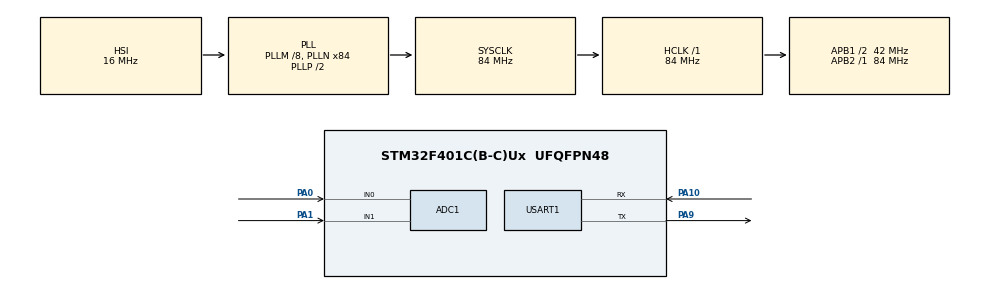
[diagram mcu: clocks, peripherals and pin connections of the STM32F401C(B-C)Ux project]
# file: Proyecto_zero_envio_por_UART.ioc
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ADC1.Channel-0\#ChannelRegularConversion=ADC_CHANNEL_1
ADC1.Channel-1\#ChannelRegularConversion=ADC_CHANNEL_0
ADC1.DMAContinuousRequests=ENABLE
ADC1.ExternalTrigConv=ADC_EXTERNALTRIGCONV_T3_TRGO
ADC1.NbrOfConversion=2
ADC1.NbrOfConversionFlag=1
ADC1.Rank-0\#ChannelRegularConversion=1
ADC1.Rank-1\#ChannelRegularConversion=2
ADC1.SamplingTime-0\#ChannelRegularConversion=ADC_SAMPLETIME_28CYCLES
ADC1.SamplingTime-1\#ChannelRegularConversion=ADC_SAMPLETIME_28CYCLES
ADC1.ScanConvMode=ENABLE
ADC1.master=1
Dma.ADC1.0.Direction=DMA_PERIPH_TO_MEMORY
Dma.ADC1.0.FIFOMode=DMA_FIFOMODE_DISABLE
Dma.ADC1.0.Instance=DMA2_Stream0
Dma.ADC1.0.MemDataAlignment=DMA_MDATAALIGN_HALFWORD
Dma.ADC1.0.MemInc=DMA_MINC_ENABLE
Dma.ADC1.0.Mode=DMA_CIRCULAR
Dma.ADC1.0.PeriphDataAlignment=DMA_PDATAALIGN_HALFWORD
Dma.ADC1.0.PeriphInc=DMA_PINC_DISABLE
Dma.ADC1.0.Priority=DMA_PRIORITY_LOW
Dma.Request0=ADC1
Mcu.Family=STM32F4
Mcu.Name=STM32F401C(B-C)Ux
Mcu.Package=UFQFPN48
NVIC.ADC_IRQn=true\:0\:0\:false\:false\:true\:true\:true\:true
NVIC.DMA2_Stream0_IRQn=true\:0\:0\:false\:false\:true\:false\:true\:true
NVIC.PriorityGroup=NVIC_PRIORITYGROUP_4
NVIC.USART1_IRQn=true\:0\:0\:false\:false\:true\:true\:true\:true
PA0-WKUP.Signal=ADCx_IN0
PA1.Signal=ADCx_IN1
PA10.Mode=Asynchronous
PA10.Signal=USART1_RX
PA13.Mode=Serial_Wire
PA13.Signal=SYS_JTMS-SWDIO
PA14.Mode=Serial_Wire
PA14.Signal=SYS_JTCK-SWCLK
PA9.Mode=Asynchronous
PA9.Signal=USART1_TX
ProjectManager.HeapSize=0x200
ProjectManager.StackSize=0x400
ProjectManager.TargetToolchain=STM32CubeIDE
RCC.48MHZClocksFreq_Value=42000000
RCC.AHBFreq_Value=84000000
RCC.APB1CLKDivider=RCC_HCLK_DIV2
RCC.APB1Freq_Value=42000000
RCC.APB1TimFreq_Value=84000000
RCC.APB2Freq_Value=84000000
RCC.APB2TimFreq_Value=84000000
RCC.CortexFreq_Value=84000000
RCC.HCLKFreq_Value=84000000
RCC.HSE_VALUE=25000000
RCC.HSI_VALUE=16000000
RCC.LSE_VALUE=32768
RCC.PLLM=8
RCC.PLLN=84
RCC.SYSCLKFreq_VALUE=84000000
RCC.SYSCLKSource=RCC_SYSCLKSOURCE_PLLCLK
RCC.VCOOutputFreq_Value=168000000
SH.ADCx_IN0.0=ADC1_IN0,IN0
SH.ADCx_IN1.0=ADC1_IN1,IN1
TIM3.Period=175-1
TIM3.Prescaler=5-1
TIM3.TIM_MasterOutputTrigger=TIM_TRGO_UPDATE
USART1.VirtualMode=VM_ASYNC
VP_TIM3_VS_ClockSourceINT.Mode=Internal
board=custom

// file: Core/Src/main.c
/* USER CODE BEGIN Header */
/**
  ******************************************************************************
  * @file           : main.c
  * @brief          : Main program body
  ******************************************************************************
  * @attention
  *
  * Copyright (c) 2026 STMicroelectronics.
  * All rights reserved.
  *
  * This software is licensed under terms that can be found in the LICENSE file
  * in the root directory of this software component.
  * If no LICENSE file comes with this software, it is provided AS-IS.
  *
  ******************************************************************************
  */
/* USER CODE END Header */
#include "main.h"

/* USER CODE BEGIN Includes */
#include "stdio.h"
#include "string.h"
/* USER CODE END Includes */

/* USER CODE BEGIN PD */
#define BUFF_SIZE 1024
#define HALF_BUFF_SIZE BUFF_SIZE/2

/* USER CODE END PD */

ADC_HandleTypeDef hadc1;
DMA_HandleTypeDef hdma_adc1;

TIM_HandleTypeDef htim3;

UART_HandleTypeDef huart1;

/* USER CODE BEGIN PV */
uint16_t buffer_adc[BUFF_SIZE];
volatile uint8_t flag_half_complete=0;

uint8_t caracter;
volatile uint8_t flag_recept=0;

/* USER CODE END PV */

void SystemClock_Config(void);
static void MX_GPIO_Init(void);
static void MX_DMA_Init(void);
static void MX_ADC1_Init(void);
static void MX_TIM3_Init(void);
static void MX_USART1_UART_Init(void);

int main(void)
{

  /* MCU Configuration--------------------------------------------------------*/

  /* Reset of all peripherals, Initializes the Flash interface and the Systick. */
  HAL_Init();

  /* Configure the system clock */
  SystemClock_Config();

  /* Initialize all configured peripherals */
  MX_GPIO_Init();
  MX_DMA_Init();
  MX_ADC1_Init();
  MX_TIM3_Init();
  MX_USART1_UART_Init();
  /* USER CODE BEGIN 2 */
  HAL_TIM_Base_Start(&htim3);
  HAL_ADC_Start_DMA(&hadc1, (uint32_t*)&buffer_adc, (uint32_t)BUFF_SIZE);
  HAL_UART_Receive_IT(&huart1, &caracter, 1);

  uint16_t buff_dma[HALF_BUFF_SIZE]={};
  char package[15]={};
  uint8_t flag_sending=0;
  uint8_t flag_local=0;
  /* USER CODE END 2 */

  /* Infinite loop */
  /* USER CODE BEGIN WHILE */
  while (1)
  {
	  flag_sending=flag_recept;
	  if(flag_sending==1){
		  flag_sending=0;
		  flag_recept=0;
		  flag_local=flag_half_complete;
		  flag_half_complete=0;
		  if(flag_local==1)
		  {
			  for(uint16_t j=0;j<HALF_BUFF_SIZE;j++)
			  {
				  buff_dma[j]=buffer_adc[j];
			  }
		  }else if(flag_local==2){
			  for(uint16_t j=HALF_BUFF_SIZE;j<BUFF_SIZE;j++)
			  {
				  buff_dma[j-HALF_BUFF_SIZE]=buffer_adc[j];
			  }
		  }
		  flag_local=0;
		  for(uint16_t j=0; j<HALF_BUFF_SIZE; j+=2){
			  snprintf(package, sizeof(package), "%u,%u\r\n",buff_dma[j],buff_dma[j+1]);
			  HAL_UART_Transmit(&huart1, (uint8_t*)package, strlen(package), 50);
		  }
	  }

    /* USER CODE END WHILE */

  }
}

void SystemClock_Config(void)
{
  RCC_OscInitTypeDef RCC_OscInitStruct = {0};
  RCC_ClkInitTypeDef RCC_ClkInitStruct = {0};

  /** Configure the main internal regulator output voltage
  */
  __HAL_RCC_PWR_CLK_ENABLE();
  __HAL_PWR_VOLTAGESCALING_CONFIG(PWR_REGULATOR_VOLTAGE_SCALE2);

  /** Initializes the RCC Oscillators according to the specified parameters
  * in the RCC_OscInitTypeDef structure.
  */
  RCC_OscInitStruct.OscillatorType = RCC_OSCILLATORTYPE_HSI;
  RCC_OscInitStruct.HSIState = RCC_HSI_ON;
  RCC_OscInitStruct.HSICalibrationValue = RCC_HSICALIBRATION_DEFAULT;
  RCC_OscInitStruct.PLL.PLLState = RCC_PLL_ON;
  RCC_OscInitStruct.PLL.PLLSource = RCC_PLLSOURCE_HSI;
  RCC_OscInitStruct.PLL.PLLM = 8;
  RCC_OscInitStruct.PLL.PLLN = 84;
  RCC_OscInitStruct.PLL.PLLP = RCC_PLLP_DIV2;
  RCC_OscInitStruct.PLL.PLLQ = 4;
  if (HAL_RCC_OscConfig(&RCC_OscInitStruct) != HAL_OK)
  {
    Error_Handler();
  }

  /** Initializes the CPU, AHB and APB buses clocks
  */
  RCC_ClkInitStruct.ClockType = RCC_CLOCKTYPE_HCLK|RCC_CLOCKTYPE_SYSCLK
                              |RCC_CLOCKTYPE_PCLK1|RCC_CLOCKTYPE_PCLK2;
  RCC_ClkInitStruct.SYSCLKSource = RCC_SYSCLKSOURCE_PLLCLK;
  RCC_ClkInitStruct.AHBCLKDivider = RCC_SYSCLK_DIV1;
  RCC_ClkInitStruct.APB1CLKDivider = RCC_HCLK_DIV2;
  RCC_ClkInitStruct.APB2CLKDivider = RCC_HCLK_DIV1;

  if (HAL_RCC_ClockConfig(&RCC_ClkInitStruct, FLASH_LATENCY_2) != HAL_OK)
  {
    Error_Handler();
  }
}

static void MX_ADC1_Init(void)
{

  ADC_ChannelConfTypeDef sConfig = {0};

  /** Configure the global features of the ADC (Clock, Resolution, Data Alignment and number of conversion)
  */
  hadc1.Instance = ADC1;
  hadc1.Init.ClockPrescaler = ADC_CLOCK_SYNC_PCLK_DIV4;
  hadc1.Init.Resolution = ADC_RESOLUTION_12B;
  hadc1.Init.ScanConvMode = ENABLE;
  hadc1.Init.ContinuousConvMode = DISABLE;
  hadc1.Init.DiscontinuousConvMode = DISABLE;
  hadc1.Init.ExternalTrigConvEdge = ADC_EXTERNALTRIGCONVEDGE_RISING;
  hadc1.Init.ExternalTrigConv = ADC_EXTERNALTRIGCONV_T3_TRGO;
  hadc1.Init.DataAlign = ADC_DATAALIGN_RIGHT;
  hadc1.Init.NbrOfConversion = 2;
  hadc1.Init.DMAContinuousRequests = ENABLE;
  hadc1.Init.EOCSelection = ADC_EOC_SINGLE_CONV;
  if (HAL_ADC_Init(&hadc1) != HAL_OK)
  {
    Error_Handler();
  }

  /** Configure for the selected ADC regular channel its corresponding rank in the sequencer and its sample time.
  */
  sConfig.Channel = ADC_CHANNEL_1;
  sConfig.Rank = 1;
  sConfig.SamplingTime = ADC_SAMPLETIME_28CYCLES;
  if (HAL_ADC_ConfigChannel(&hadc1, &sConfig) != HAL_OK)
  {
    Error_Handler();
  }

  /** Configure for the selected ADC regular channel its corresponding rank in the sequencer and its sample time.
  */
  sConfig.Channel = ADC_CHANNEL_0;
  sConfig.Rank = 2;
  if (HAL_ADC_ConfigChannel(&hadc1, &sConfig) != HAL_OK)
  {
    Error_Handler();
  }

}

static void MX_TIM3_Init(void)
{

  TIM_ClockConfigTypeDef sClockSourceConfig = {0};
  TIM_MasterConfigTypeDef sMasterConfig = {0};

  htim3.Instance = TIM3;
  htim3.Init.Prescaler = 5-1;
  htim3.Init.CounterMode = TIM_COUNTERMODE_UP;
  htim3.Init.Period = 175-1;
  htim3.Init.ClockDivision = TIM_CLOCKDIVISION_DIV1;
  htim3.Init.AutoReloadPreload = TIM_AUTORELOAD_PRELOAD_DISABLE;
  if (HAL_TIM_Base_Init(&htim3) != HAL_OK)
  {
    Error_Handler();
  }
  sClockSourceConfig.ClockSource = TIM_CLOCKSOURCE_INTERNAL;
  if (HAL_TIM_ConfigClockSource(&htim3, &sClockSourceConfig) != HAL_OK)
  {
    Error_Handler();
  }
  sMasterConfig.MasterOutputTrigger = TIM_TRGO_UPDATE;
  sMasterConfig.MasterSlaveMode = TIM_MASTERSLAVEMODE_DISABLE;
  if (HAL_TIMEx_MasterConfigSynchronization(&htim3, &sMasterConfig) != HAL_OK)
  {
    Error_Handler();
  }

}

static void MX_USART1_UART_Init(void)
{

  huart1.Instance = USART1;
  huart1.Init.BaudRate = 115200;
  huart1.Init.WordLength = UART_WORDLENGTH_8B;
  huart1.Init.StopBits = UART_STOPBITS_1;
  huart1.Init.Parity = UART_PARITY_NONE;
  huart1.Init.Mode = UART_MODE_TX_RX;
  huart1.Init.HwFlowCtl = UART_HWCONTROL_NONE;
  huart1.Init.OverSampling = UART_OVERSAMPLING_16;
  if (HAL_UART_Init(&huart1) != HAL_OK)
  {
    Error_Handler();
  }

}

static void MX_DMA_Init(void)
{

  /* DMA controller clock enable */
  __HAL_RCC_DMA2_CLK_ENABLE();

  /* DMA interrupt init */
  /* DMA2_Stream0_IRQn interrupt configuration */
  HAL_NVIC_SetPriority(DMA2_Stream0_IRQn, 0, 0);
  HAL_NVIC_EnableIRQ(DMA2_Stream0_IRQn);

}

static void MX_GPIO_Init(void)
{

  /* GPIO Ports Clock Enable */
  __HAL_RCC_GPIOA_CLK_ENABLE();

}

/* USER CODE BEGIN 4 */
void HAL_ADC_ConvHalfCpltCallback(ADC_HandleTypeDef *hadc){
	flag_half_complete=1;

}
void HAL_ADC_ConvCpltCallback(ADC_HandleTypeDef *hadc){
	flag_half_complete=2;
}

void HAL_UART_RxCpltCallback(UART_HandleTypeDef *huart){
	if(((char)caracter != '\r') && ((char)caracter != '\n')){
		switch((char)caracter){
		case('x'):
				flag_recept=1;
		break;
		default:
		}
	};
	HAL_UART_Receive_IT(&huart1, &caracter, 1);
}
/* USER CODE END 4 */

void Error_Handler(void)
{
  __disable_irq();
  while (1)
  {
  }
}
